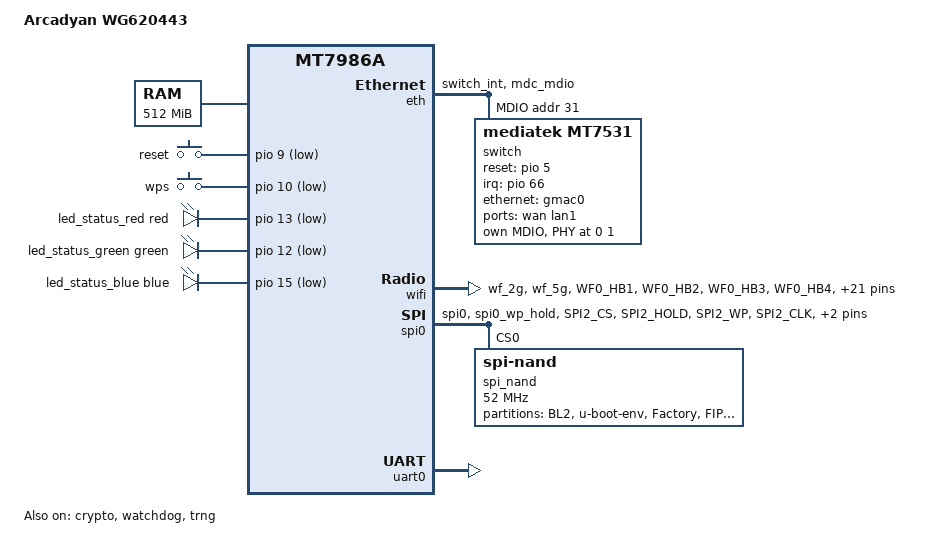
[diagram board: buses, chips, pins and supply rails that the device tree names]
// SPDX-License-Identifier: GPL-2.0-only OR MIT

/dts-v1/;
#include <dt-bindings/gpio/gpio.h>
#include <dt-bindings/input/input.h>
#include <dt-bindings/leds/common.h>
#include <dt-bindings/pinctrl/mt65xx.h>

#include "mt7986a.dtsi"

/ {
	model = "Arcadyan WG620443";
	compatible = "arcadyan,wg620443", "mediatek,mt7986a";

	aliases {
		serial0 = &uart0;
		led-boot = &led_status_blue;
		led-failsafe = &led_status_blue;
		led-running = &led_status_green;
		led-upgrade = &led_status_red;
	};

	chosen {
		stdout-path = "serial0:115200n8";

		/* Stock U-Boot crashes unless /chosen/bootargs exists */
		bootargs = "earlycon=uart8250,mmio32,0x11002000 console=ttyS0,115200n8";
	};

	memory@40000000 {
		reg = <0 0x40000000 0 0x20000000>;
		device_type = "memory";
	};

	gpio-keys {
		compatible = "gpio-keys";

		button-reset {
			label = "reset";
			gpios = <&pio 9 GPIO_ACTIVE_LOW>;
			linux,code = <KEY_RESTART>;
		};

		button-wps {
			label = "wps";
			gpios = <&pio 10 GPIO_ACTIVE_LOW>;
			linux,code = <KEY_WPS_BUTTON>;
		};
	};

	leds {
		compatible = "gpio-leds";

		led_status_red: led-0 {
			color = <LED_COLOR_ID_RED>;
			function = LED_FUNCTION_STATUS;
			gpios = <&pio 13 GPIO_ACTIVE_LOW>;
		};

		led_status_green: led-1 {
			color = <LED_COLOR_ID_GREEN>;
			function = LED_FUNCTION_STATUS;
			gpios = <&pio 12 GPIO_ACTIVE_LOW>;
		};

		led_status_blue: led-2 {
			color = <LED_COLOR_ID_BLUE>;
			function = LED_FUNCTION_STATUS;
			gpios = <&pio 15 GPIO_ACTIVE_LOW>;
		};
	};
};

&eth {
	status = "okay";
	pinctrl-names = "default";
	pinctrl-0 = <&eth_pins>;

	gmac0: mac@0 {
		compatible = "mediatek,eth-mac";
		reg = <0>;
		phy-mode = "2500base-x";

		fixed-link {
			speed = <2500>;
			full-duplex;
			pause;
		};
	};

	mdio: mdio-bus {
		#address-cells = <1>;
		#size-cells = <0>;

		switch: switch@1f {
			compatible = "mediatek,mt7531";
			reg = <31>;
			reset-gpios = <&pio 5 GPIO_ACTIVE_HIGH>;
			interrupt-controller;
			#interrupt-cells = <1>;
			interrupt-parent = <&pio>;
			interrupts = <66 IRQ_TYPE_LEVEL_HIGH>;

			ports {
				#address-cells = <1>;
				#size-cells = <0>;

				port@0 {
					reg = <0>;
					label = "wan";
					phy-handle = <&swphy0>;
				};

				port@1 {
					reg = <1>;
					label = "lan1";
					phy-handle = <&swphy1>;
				};

				port@6 {
					reg = <6>;
					ethernet = <&gmac0>;
					phy-mode = "2500base-x";

					fixed-link {
						speed = <2500>;
						full-duplex;
						pause;
					};
				};
			};

			mdio {
				#address-cells = <1>;
				#size-cells = <0>;

				swphy0: phy@0 {
					reg = <0>;

					mediatek,led-config = <
						0x21 0x8009 /* BASIC_CTRL */
						0x22 0x0c00 /* ON_DURATION */
						0x23 0x1400 /* BLINK_DURATION */
						0x24 0x8000 /* LED0_ON_CTRL */
						0x25 0x0000 /* LED0_BLINK_CTRL */
						0x26 0xc007 /* LED1_ON_CTRL */
						0x27 0x003f /* LED1_BLINK_CTRL */
					>;
				};

				swphy1: phy@1 {
					reg = <1>;

					mediatek,led-config = <
						0x21 0x8009 /* BASIC_CTRL */
						0x22 0x0c00 /* ON_DURATION */
						0x23 0x1400 /* BLINK_DURATION */
						0x24 0x8000 /* LED0_ON_CTRL */
						0x25 0x0000 /* LED0_BLINK_CTRL */
						0x26 0xc007 /* LED1_ON_CTRL */
						0x27 0x003f /* LED1_BLINK_CTRL */
					>;
				};
			};
		};
	};
};

&crypto {
	status = "okay";
};

&watchdog {
	status = "okay";
};

&wifi {
	status = "okay";
	pinctrl-names = "default";
	pinctrl-0 = <&wf_2g_5g_pins>;

	nvmem-cells = <&eeprom_factory_0>;
	nvmem-cell-names = "eeprom";
};

&pio {
	eth_pins: eth-pins {
		mux {
			function = "eth";
			groups = "switch_int", "mdc_mdio";
		};
	};

	pcie_pins: pcie-pins {
		mux {
			function = "pcie";
			groups = "pcie_pereset";
		};
	};

	spi_flash_pins: spi-flash-pins-33-to-38 {
		mux {
			function = "spi";
			groups = "spi0", "spi0_wp_hold";
		};
		conf-pu {
			pins = "SPI2_CS", "SPI2_HOLD", "SPI2_WP";
			drive-strength = <MTK_DRIVE_8mA>;
			bias-disable; /* bias-disable */
		};
		conf-pd {
			pins = "SPI2_CLK", "SPI2_MOSI", "SPI2_MISO";
			drive-strength = <MTK_DRIVE_8mA>;
			bias-disable; /* bias-disable */
		};
	};

	wf_2g_5g_pins: wf_2g_5g-pins {
		mux {
			function = "wifi";
			groups = "wf_2g", "wf_5g";
		};
		conf {
			pins = "WF0_HB1", "WF0_HB2", "WF0_HB3", "WF0_HB4",
			       "WF0_HB0", "WF0_HB0_B", "WF0_HB5", "WF0_HB6",
			       "WF0_HB7", "WF0_HB8", "WF0_HB9", "WF0_HB10",
			       "WF0_TOP_CLK", "WF0_TOP_DATA", "WF1_HB1",
			       "WF1_HB2", "WF1_HB3", "WF1_HB4", "WF1_HB0",
			       "WF1_HB5", "WF1_HB6", "WF1_HB7", "WF1_HB8",
			       "WF1_TOP_CLK", "WF1_TOP_DATA";
			drive-strength = <MTK_DRIVE_4mA>;
		};
	};
};

&spi0 {
	pinctrl-names = "default";
	pinctrl-0 = <&spi_flash_pins>;
	status = "okay";

	spi_nand@0 {
		compatible = "spi-nand";
		reg = <0>;

		mediatek,nmbm;
		mediatek,bmt-max-ratio = <1>;
		mediatek,bmt-max-reserved-blocks = <64>;

		spi-max-frequency = <52000000>;
		spi-tx-bus-width = <4>;
		spi-rx-bus-width = <4>;

		partitions {
			compatible = "fixed-partitions";
			#address-cells = <1>;
			#size-cells = <1>;

			partition@0 {
				label = "BL2";
				reg = <0x000000 0x100000>;
				read-only;
			};

			partition@100000 {
				label = "u-boot-env";
				reg = <0x100000 0x80000>;
			};

			factory: partition@180000 {
				label = "Factory";
				reg = <0x180000 0x200000>;
				read-only;

				nvmem-layout {
					compatible = "fixed-layout";
					#address-cells = <1>;
					#size-cells = <1>;

					eeprom_factory_0: eeprom@0 {
						reg = <0x0 0x1000>;
					};
				};
			};
			partition@380000 {
				label = "FIP";
				reg = <0x380000 0x200000>;
				read-only;
			};

			partition@580000 {
				label = "ubi";
				reg = <0x580000 0x2400000>;
			};

			partition@2980000 {
				label = "Kernel2";
				reg = <0x2980000 0x2400000>;
				read-only;
			};

			partition@4d80000 {
				label = "pricfg";
				reg = <0x4d80000 0x200000>;
			};

			partition@4f80000 {
				label = "seccfg";
				reg = <0x4f80000 0x200000>;
			};

			partition@5180000 {
				label = "arc_log";
				reg = <0x5180000 0x200000>;
			};

			partition@5380000 {
				label = "board_data";
				reg = <0x5380000 0x200000>;
			};

			partition@5580000 {
				label = "boot_data";
				reg = <0x5580000 0x200000>;
			};

			partition@5780000 {
				label = "User_data";
				reg = <0x5780000 0x1000000>;
			};
		};
	};
};

&trng {
	status = "okay";
};

&uart0 {
	status = "okay";
};
